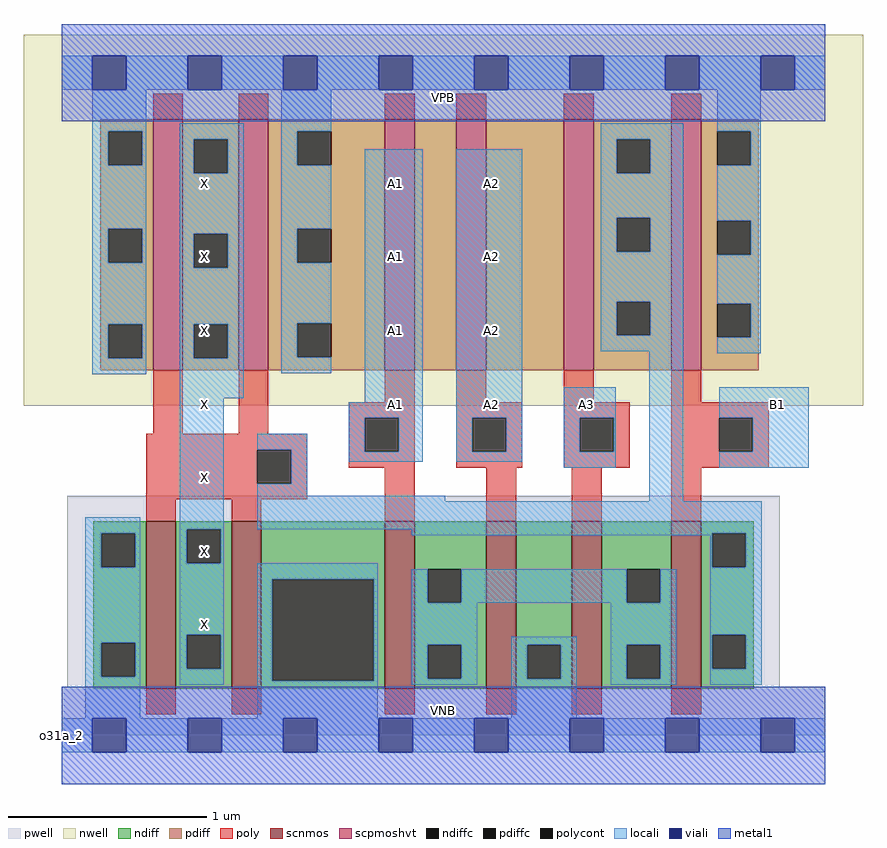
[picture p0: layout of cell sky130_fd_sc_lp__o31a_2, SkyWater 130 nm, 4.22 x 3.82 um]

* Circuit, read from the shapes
.subckt sky130_fd_sc_lp__o31a_2 A1 A2 A3 B1 VGND VNB VPB VPWR X
XM1 X n1 VGND VNB sky130_fd_pr__nfet_01v8 w=0.84 l=0.15 m=2
XM2 n2 A1 VGND VNB sky130_fd_pr__nfet_01v8 w=0.84 l=0.15
XM3 VGND A2 n2 VNB sky130_fd_pr__nfet_01v8 w=0.84 l=0.15
XM4 n2 A3 VGND VNB sky130_fd_pr__nfet_01v8 w=0.84 l=0.15
XM5 n1 B1 n2 VNB sky130_fd_pr__nfet_01v8 w=0.84 l=0.15
XM6 X n1 VPWR VPB sky130_fd_pr__pfet_01v8_hvt w=1.26 l=0.15 m=2
XM7 n3 A1 VPWR VPB sky130_fd_pr__pfet_01v8_hvt w=1.26 l=0.15
XM8 n4 A2 n3 VPB sky130_fd_pr__pfet_01v8_hvt w=1.26 l=0.15
XM9 n1 A3 n4 VPB sky130_fd_pr__pfet_01v8_hvt w=1.26 l=0.15
XM10 VPWR B1 n1 VPB sky130_fd_pr__pfet_01v8_hvt w=1.26 l=0.15
.ends

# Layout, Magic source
magic
tech sky130A
magscale 1 2
<< nwell >>
rect -38 331 806 704
<< pwell >>
rect 6 49 722 241
rect 0 0 768 49
<< scnmos >>
rect 85 47 115 215
rect 171 47 201 215
rect 325 47 355 215
rect 427 47 457 215
rect 513 47 543 215
rect 613 47 643 215
<< scpmoshvt >>
rect 92 367 122 619
rect 178 367 208 619
rect 325 367 355 619
rect 397 367 427 619
rect 505 367 535 619
rect 613 367 643 619
<< ndiff >>
rect 32 203 85 215
rect 32 169 40 203
rect 74 169 85 203
rect 32 93 85 169
rect 32 59 40 93
rect 74 59 85 93
rect 32 47 85 59
rect 115 207 171 215
rect 115 173 126 207
rect 160 173 171 207
rect 115 101 171 173
rect 115 67 126 101
rect 160 67 171 101
rect 115 47 171 67
rect 201 157 325 215
rect 201 55 212 157
rect 314 55 325 157
rect 201 47 325 55
rect 355 167 427 215
rect 355 133 368 167
rect 402 133 427 167
rect 355 91 427 133
rect 355 57 368 91
rect 402 57 427 91
rect 355 47 427 57
rect 457 91 513 215
rect 457 57 468 91
rect 502 57 513 91
rect 457 47 513 57
rect 543 167 613 215
rect 543 133 568 167
rect 602 133 613 167
rect 543 91 613 133
rect 543 57 568 91
rect 602 57 613 91
rect 543 47 613 57
rect 643 203 696 215
rect 643 169 654 203
rect 688 169 696 203
rect 643 101 696 169
rect 643 67 654 101
rect 688 67 696 101
rect 643 47 696 67
<< pdiff >>
rect 39 607 92 619
rect 39 573 47 607
rect 81 573 92 607
rect 39 509 92 573
rect 39 475 47 509
rect 81 475 92 509
rect 39 413 92 475
rect 39 379 47 413
rect 81 379 92 413
rect 39 367 92 379
rect 122 599 178 619
rect 122 565 133 599
rect 167 565 178 599
rect 122 504 178 565
rect 122 470 133 504
rect 167 470 178 504
rect 122 413 178 470
rect 122 379 133 413
rect 167 379 178 413
rect 122 367 178 379
rect 208 607 325 619
rect 208 573 237 607
rect 271 573 325 607
rect 208 509 325 573
rect 208 475 237 509
rect 271 475 325 509
rect 208 414 325 475
rect 208 380 237 414
rect 271 380 325 414
rect 208 367 325 380
rect 355 367 397 619
rect 427 367 505 619
rect 535 599 613 619
rect 535 565 558 599
rect 592 565 613 599
rect 535 520 613 565
rect 535 486 558 520
rect 592 486 613 520
rect 535 436 613 486
rect 535 402 558 436
rect 592 402 613 436
rect 535 367 613 402
rect 643 607 701 619
rect 643 573 659 607
rect 693 573 701 607
rect 643 517 701 573
rect 643 483 659 517
rect 693 483 701 517
rect 643 434 701 483
rect 643 400 659 434
rect 693 400 701 434
rect 643 367 701 400
<< ndiffc >>
rect 40 169 74 203
rect 40 59 74 93
rect 126 173 160 207
rect 126 67 160 101
rect 212 55 314 157
rect 368 133 402 167
rect 368 57 402 91
rect 468 57 502 91
rect 568 133 602 167
rect 568 57 602 91
rect 654 169 688 203
rect 654 67 688 101
<< pdiffc >>
rect 47 573 81 607
rect 47 475 81 509
rect 47 379 81 413
rect 133 565 167 599
rect 133 470 167 504
rect 133 379 167 413
rect 237 573 271 607
rect 237 475 271 509
rect 237 380 271 414
rect 558 565 592 599
rect 558 486 592 520
rect 558 402 592 436
rect 659 573 693 607
rect 659 483 693 517
rect 659 400 693 434
<< poly >>
rect 92 619 122 645
rect 178 619 208 645
rect 325 619 355 645
rect 397 619 427 645
rect 505 619 535 645
rect 613 619 643 645
rect 92 303 122 367
rect 178 303 208 367
rect 325 335 355 367
rect 289 319 355 335
rect 85 287 247 303
rect 85 253 197 287
rect 231 253 247 287
rect 289 285 305 319
rect 339 285 355 319
rect 289 269 355 285
rect 397 335 427 367
rect 505 335 535 367
rect 613 335 643 367
rect 397 319 463 335
rect 397 285 413 319
rect 447 285 463 319
rect 397 269 463 285
rect 505 319 571 335
rect 505 285 521 319
rect 555 285 571 319
rect 505 269 571 285
rect 613 319 711 335
rect 613 285 661 319
rect 695 285 711 319
rect 613 269 711 285
rect 85 237 247 253
rect 85 215 115 237
rect 171 215 201 237
rect 325 215 355 269
rect 427 215 457 269
rect 513 215 543 269
rect 613 215 643 269
rect 85 21 115 47
rect 171 21 201 47
rect 325 21 355 47
rect 427 21 457 47
rect 513 21 543 47
rect 613 21 643 47
<< polycont >>
rect 197 253 231 287
rect 305 285 339 319
rect 413 285 447 319
rect 521 285 555 319
rect 661 285 695 319
<< locali >>
rect 0 649 31 683
rect 65 649 127 683
rect 161 649 223 683
rect 257 649 319 683
rect 353 649 415 683
rect 449 649 511 683
rect 545 649 607 683
rect 641 649 703 683
rect 737 649 768 683
rect 31 607 85 649
rect 31 573 47 607
rect 81 573 85 607
rect 31 509 85 573
rect 31 475 47 509
rect 81 475 85 509
rect 31 413 85 475
rect 31 379 47 413
rect 81 379 85 413
rect 31 363 85 379
rect 119 599 183 615
rect 119 565 133 599
rect 167 565 183 599
rect 119 504 183 565
rect 119 470 133 504
rect 167 470 183 504
rect 119 413 183 470
rect 119 379 133 413
rect 167 379 183 413
rect 119 339 183 379
rect 221 607 271 649
rect 221 573 237 607
rect 542 599 625 615
rect 221 509 271 573
rect 221 475 237 509
rect 221 414 271 475
rect 221 380 237 414
rect 221 364 271 380
rect 24 203 79 219
rect 24 169 40 203
rect 74 169 79 203
rect 24 93 79 169
rect 24 59 40 93
rect 74 59 79 93
rect 24 17 79 59
rect 119 207 163 339
rect 305 335 363 589
rect 289 319 363 335
rect 197 287 247 303
rect 231 253 247 287
rect 289 285 305 319
rect 339 285 363 319
rect 289 275 363 285
rect 397 319 463 589
rect 542 565 558 599
rect 592 565 625 599
rect 542 520 625 565
rect 542 486 558 520
rect 592 486 625 520
rect 542 436 625 486
rect 542 402 558 436
rect 592 402 625 436
rect 542 386 625 402
rect 397 285 413 319
rect 447 285 463 319
rect 397 275 463 285
rect 505 319 557 350
rect 505 285 521 319
rect 555 285 557 319
rect 505 269 557 285
rect 197 241 247 253
rect 197 235 386 241
rect 591 235 625 386
rect 659 607 703 649
rect 693 573 703 607
rect 659 517 703 573
rect 693 483 703 517
rect 659 434 703 483
rect 693 400 703 434
rect 659 384 703 400
rect 661 319 751 350
rect 695 285 751 319
rect 661 269 751 285
rect 197 207 704 235
rect 119 173 126 207
rect 160 173 163 207
rect 352 203 704 207
rect 352 201 654 203
rect 119 101 163 173
rect 119 67 126 101
rect 160 67 163 101
rect 119 51 163 67
rect 197 157 318 173
rect 652 169 654 201
rect 688 169 704 203
rect 197 55 212 157
rect 314 55 318 157
rect 197 17 318 55
rect 352 133 368 167
rect 402 133 568 167
rect 602 133 618 167
rect 352 91 418 133
rect 352 57 368 91
rect 402 57 418 91
rect 352 51 418 57
rect 452 91 518 99
rect 452 57 468 91
rect 502 57 518 91
rect 452 17 518 57
rect 552 91 618 133
rect 552 57 568 91
rect 602 57 618 91
rect 552 51 618 57
rect 652 101 704 169
rect 652 67 654 101
rect 688 67 704 101
rect 652 51 704 67
rect 0 -17 31 17
rect 65 -17 127 17
rect 161 -17 223 17
rect 257 -17 319 17
rect 353 -17 415 17
rect 449 -17 511 17
rect 545 -17 607 17
rect 641 -17 703 17
rect 737 -17 768 17
<< viali >>
rect 31 649 65 683
rect 127 649 161 683
rect 223 649 257 683
rect 319 649 353 683
rect 415 649 449 683
rect 511 649 545 683
rect 607 649 641 683
rect 703 649 737 683
rect 31 -17 65 17
rect 127 -17 161 17
rect 223 -17 257 17
rect 319 -17 353 17
rect 415 -17 449 17
rect 511 -17 545 17
rect 607 -17 641 17
rect 703 -17 737 17
<< metal1 >>
rect 0 683 768 715
rect 0 649 31 683
rect 65 649 127 683
rect 161 649 223 683
rect 257 649 319 683
rect 353 649 415 683
rect 449 649 511 683
rect 545 649 607 683
rect 641 649 703 683
rect 737 649 768 683
rect 0 617 768 649
rect 0 17 768 49
rect 0 -17 31 17
rect 65 -17 127 17
rect 161 -17 223 17
rect 257 -17 319 17
rect 353 -17 415 17
rect 449 -17 511 17
rect 545 -17 607 17
rect 641 -17 703 17
rect 737 -17 768 17
rect 0 -49 768 -17
<< labels >>
flabel pwell s 0 0 768 49 0 FreeSans 200 0 0 0 VNB
port 6 nsew ground bidirectional
flabel nwell s 0 617 768 666 0 FreeSans 200 0 0 0 VPB
port 7 nsew power bidirectional
rlabel comment s 0 0 0 0 4 o31a_2
flabel metal1 s 0 617 768 666 0 FreeSans 340 0 0 0 VPWR
port 8 nsew power bidirectional
flabel metal1 s 0 0 768 49 0 FreeSans 340 0 0 0 VGND
port 5 nsew ground bidirectional
flabel locali s 127 94 161 128 0 FreeSans 340 0 0 0 X
port 9 nsew signal output
flabel locali s 127 168 161 202 0 FreeSans 340 0 0 0 X
port 9 nsew signal output
flabel locali s 127 242 161 276 0 FreeSans 340 0 0 0 X
port 9 nsew signal output
flabel locali s 127 316 161 350 0 FreeSans 340 0 0 0 X
port 9 nsew signal output
flabel locali s 127 390 161 424 0 FreeSans 340 0 0 0 X
port 9 nsew signal output
flabel locali s 127 464 161 498 0 FreeSans 340 0 0 0 X
port 9 nsew signal output
flabel locali s 127 538 161 572 0 FreeSans 340 0 0 0 X
port 9 nsew signal output
flabel locali s 319 316 353 350 0 FreeSans 340 0 0 0 A1
port 1 nsew signal input
flabel locali s 319 390 353 424 0 FreeSans 340 0 0 0 A1
port 1 nsew signal input
flabel locali s 319 464 353 498 0 FreeSans 340 0 0 0 A1
port 1 nsew signal input
flabel locali s 319 538 353 572 0 FreeSans 340 0 0 0 A1
port 1 nsew signal input
flabel locali s 415 316 449 350 0 FreeSans 340 0 0 0 A2
port 2 nsew signal input
flabel locali s 415 390 449 424 0 FreeSans 340 0 0 0 A2
port 2 nsew signal input
flabel locali s 415 464 449 498 0 FreeSans 340 0 0 0 A2
port 2 nsew signal input
flabel locali s 415 538 449 572 0 FreeSans 340 0 0 0 A2
port 2 nsew signal input
flabel locali s 511 316 545 350 0 FreeSans 340 0 0 0 A3
port 3 nsew signal input
flabel locali s 703 316 737 350 0 FreeSans 340 0 0 0 B1
port 4 nsew signal input
<< properties >>
string LEFsite unit
string LEFclass CORE
string FIXED_BBOX 0 0 768 666
string GDS_FILE $PDKPATH/libs.ref/sky130_fd_sc_lp/gds/sky130_fd_sc_lp.gds
string LEFsymmetry X Y R90
string GDS_END 1267354
string GDS_START 1259072
<< end >>
